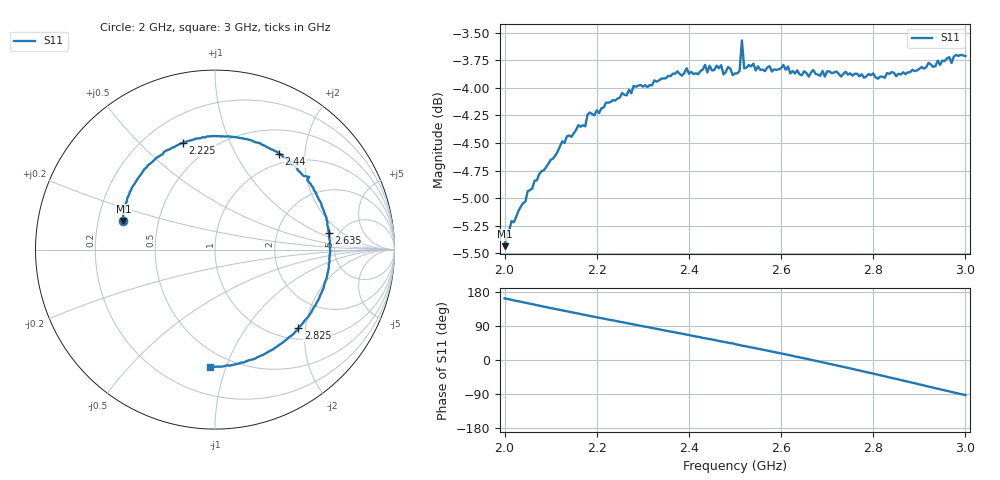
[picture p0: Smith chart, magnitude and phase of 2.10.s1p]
!Agilent Technologies,E8364A,US41440144,A.06.04.32
!Agilent E8364A: A.06.04.32
!Date: Friday, February 02, 2018 10:14:27
!Correction: S11(Full 2 Port(1,2))
!S1P File: Measurement: S11:
# Hz S  dB  R 50
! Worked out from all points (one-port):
!   201 points, 2 GHz to 3 GHz, reference 50 ohm
!   lowest |S11| = -5.4 dB at 2 GHz (marker M1), VSWR 3.30, Z = 15.5 + j6.93 ohm
!   |S11| at or under -10 dB: nowhere
!   S11 on the Smith chart (normalised r, x): 2 GHz: 0.31, +0.14; 2.225 GHz: 0.35, +0.68; 2.44 GHz: 0.84, +1.53; 2.635 GHz: 4.15, +1.33; 2.825 GHz: 1.24, -1.83; 3 GHz: 0.39, -0.88
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2e9  -5.43 162.6
2.015e9  -5.21 158.9
2.065e9  -4.84 146.0
2.125e9  -4.49 131.0
2.185e9  -4.22 116.3
2.225e9  -4.13 106.7
2.25e9  -4.09 100.8
2.295e9  -3.97 90.3
2.375e9  -3.85 71.8
2.44e9  -3.86 56.2
2.485e9  -3.81 45.5
2.495e9  -3.88 44.2
2.5e9  -3.87 41.9
2.51e9  -3.85 39.7
2.515e9  -3.57 37.6
2.52e9  -3.82 37.1
2.575e9  -3.80 23.3
2.625e9  -3.85 11.0
2.635e9  -3.84 8.4
2.7e9  -3.85 -8.5
2.75e9  -3.87 -22.3
2.8e9  -3.87 -35.9
2.825e9  -3.91 -43.2
2.875e9  -3.86 -57.3
2.92e9  -3.77 -70.1
2.94e9  -3.75 -75.4
2.965e9  -3.72 -82.9
3e9  -3.71 -92.6
